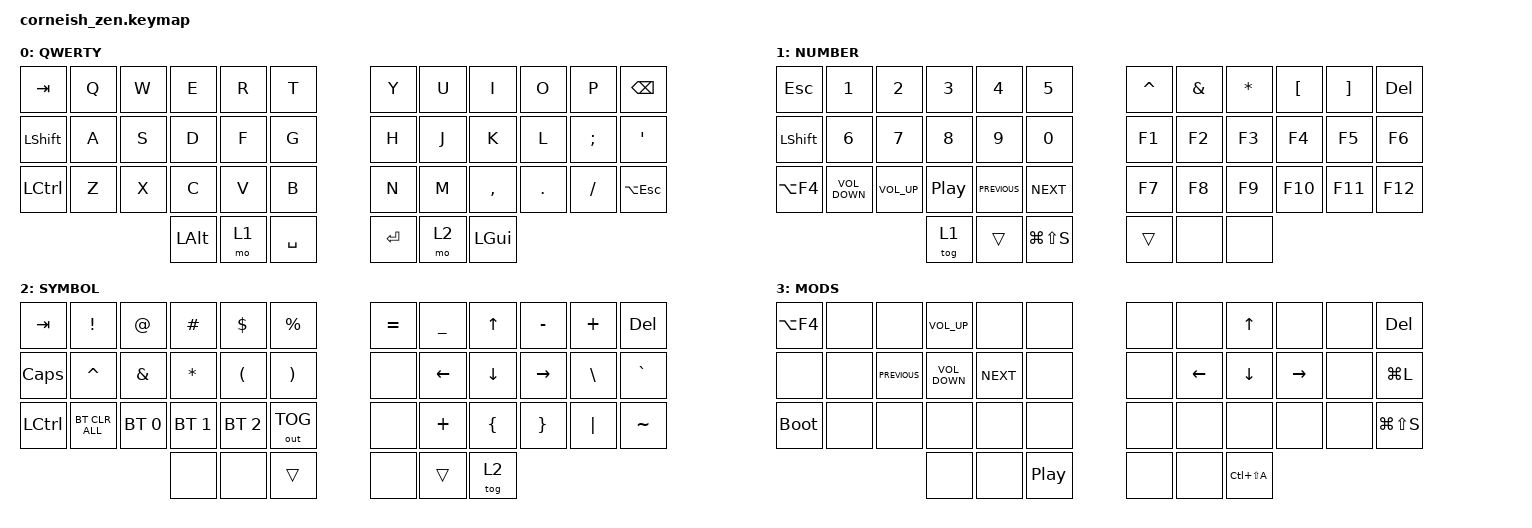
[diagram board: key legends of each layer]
/*
*
* Copyright (c) 2021 Darryl deHaan
* SPDX-License-Identifier: MIT
*
*/

#include <behaviors.dtsi>
#include <dt-bindings/zmk/bt.h>
#include <dt-bindings/zmk/keys.h>
#include <dt-bindings/zmk/outputs.h>

/ {
    chosen {
        zmk,matrix_transform = &default_transform;

        // zmk,matrix_transform = &five_column_transform;
    };
};

/ {
    keymap {
        compatible = "zmk,keymap";

        default_layer {
            display-name = "QWERTY";

            // --------------------------------------------------------------------------------
            // |  TAB |  Q  |  W  |  E  |  R  |  T  |   |  Y  |  U   |  I  |  O  |  P  | BKSP |
            // | CTRL |  A  |  S  |  D  |  F  |  G  |   |  H  |  J   |  K  |  L  |  ;  |  '   |
            // | SHFT |  Z  |  X  |  C  |  V  |  B  |   |  N  |  M   |  ,  |  .  |  /  | ESC  |
            //                    | GUI | LWR | SPC |   | ENT | RSE  | ALT |

            bindings = <
&kp TAB         &kp Q  &kp W  &kp E     &kp R  &kp T        &kp Y    &kp U  &kp I      &kp O    &kp P     &kp BSPC
&kp LEFT_SHIFT  &kp A  &kp S  &kp D     &kp F  &kp G        &kp H    &kp J  &kp K      &kp L    &kp SEMI  &kp APOS
&kp LCTRL       &kp Z  &kp X  &kp C     &kp V  &kp B        &kp N    &kp M  &kp COMMA  &kp DOT  &kp FSLH  &kp LA(ESC)
                              &kp LALT  &mo 1  &kp SPACE    &kp RET  &mo 2  &kp LGUI
            >;
        };

        lower_layer {
            display-name = "NUMBER";

            // -----------------------------------------------------------------------------------------
            // |  TAB |  1  |  2  |  3  |  4  |  5  |   |  6  |  7  |  8  |  9  |  0  | BKSP |
            // | BTCLR| BT1 | BT2 | BT3 | BT4 |SD_UL|   | LFT | DWN |  UP | RGT |     |      |
            // | SHFT |     |     |     |     |     |   |     |     |     |     |     |      |
            //                    | GUI |     | SPC |   | ENT |     | ALT |

            bindings = <
&kp ESC     &kp N1             &kp N2           &kp N3            &kp N4          &kp N5           &kp CARET  &kp AMPS  &kp ASTERISK  &kp LEFT_BRACKET  &kp RIGHT_BRACKET  &kp DEL
&kp LSHFT   &kp N6             &kp N7           &kp N8            &kp N9          &kp N0           &kp F1     &kp F2    &kp F3        &kp F4            &kp F5             &kp F6
&kp LA(F4)  &kp C_VOLUME_DOWN  &kp C_VOLUME_UP  &kp C_PLAY_PAUSE  &kp C_PREVIOUS  &kp C_NEXT       &kp F7     &kp F8    &kp F9        &kp F10           &kp F11            &kp F12
                                                &tog 1            &trans          &kp LG(LS(S))    &trans     &none     &none
            >;
        };

        raise_layer {
            display-name = "SYMBOL";

            // -----------------------------------------------------------------------------------------
            // |  TAB |  !  |  @  |  #  |  $  |  %  |   |  ^  |  &  |  *  |  (  |  )  | BKSP |
            // | CTRL |SD_UL|     |     |     |     |   |  -  |  =  |  [  |  ]  |  \  |  `   |
            // | SHFT |     |     |     |     |     |   |  _  |  +  |  {  |  }  | "|" |  ~   |
            //                    | GUI |     | SPC |   | ENT |     | ALT |

            bindings = <
&kp TAB       &kp EXCL        &kp AT        &kp HASH      &kp DLLR      &kp PRCNT       &kp EQUAL  &kp UNDER  &kp UP    &kp MINUS  &kp PLUS  &kp DEL
&kp CAPSLOCK  &kp CARET       &kp AMPS      &kp ASTRK     &kp LPAR      &kp RPAR        &none      &kp LEFT   &kp DOWN  &kp RIGHT  &kp BSLH  &kp GRAVE
&kp LCTRL     &bt BT_CLR_ALL  &bt BT_SEL 0  &bt BT_SEL 1  &bt BT_SEL 2  &out OUT_TOG    &none      &kp PLUS   &kp LBRC  &kp RBRC   &kp PIPE  &kp TILDE
                                            &none         &none         &trans          &none      &trans     &tog 2
            >;
        };

        Mods {
            bindings = <
&kp LA(F4)   &none  &none           &kp C_VOLUME_UP    &none       &none               &none  &none           &kp UP_ARROW    &none            &none  &kp DELETE
&none        &none  &kp C_PREVIOUS  &kp C_VOLUME_DOWN  &kp C_NEXT  &none               &none  &kp LEFT_ARROW  &kp DOWN_ARROW  &kp RIGHT_ARROW  &none  &kp LG(L)
&bootloader  &none  &none           &none              &none       &none               &none  &none           &none           &none            &none  &kp LG(LS(S))
                                    &none              &none       &kp C_PLAY_PAUSE    &none  &none           &kp LC(LS(A))
            >;

            label = "MODS";
        };
    };
};
